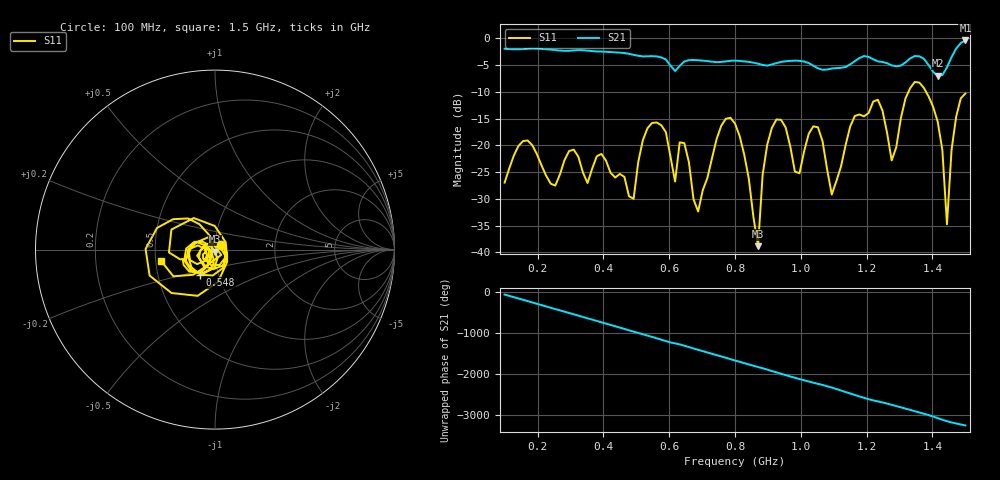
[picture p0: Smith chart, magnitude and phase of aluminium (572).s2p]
! NanoVNA-App
! Date: 2025-09-25 14:59:44
! Start: 100MHz Stop: 1,5GHz Points: 101
! S-Parameter data: F S11 S21 S12 S22
# Hz S RI R 50
!  Frequency  S11_Real  S11_Imag  S21_Real  S21_Imag  S12_Real  S12_Imag  S22_Real  S22_Imag
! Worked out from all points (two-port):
!   101 points, 100 MHz to 1.5 GHz, reference 50 ohm
!   highest |S21| = -0.37 dB at 1.5 GHz (marker M1); lowest = -7.0 dB at 1.416 GHz (marker M2)
!   |S21| within 3 dB of the highest: start of sweep to 563.5 MHz; 1.459 GHz to end of sweep (the widest 2 of 4)
!   lowest |S11| = -38.8 dB at 870 MHz (marker M3), VSWR 1.02, Z = 50.1 - j1.14 ohm
!   |S11| at or under -10 dB: start of sweep to 1.327 GHz; 1.381 GHz to end of sweep
!   S12 and S22 are empty: the file has one direction only
!   S11 on the Smith chart (normalised r, x): 100 MHz: 1.07, +0.06; 548 MHz: 0.82, -0.24; 1.5 GHz: 0.54, -0.08
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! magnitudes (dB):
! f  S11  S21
! 100 MHz  -27.0  -1.9
! 156 MHz  -19.2  -2.0
! 338 MHz  -25.1  -2.2
! 492 MHz  -30.0  -3.1
! 548 MHz  -15.8  -3.3
! 576 MHz  -16.2  -3.5
! 618 MHz  -26.8  -6.1
! 646 MHz  -19.6  -4.3
! 688 MHz  -32.4  -4.1
! 800 MHz  -15.9  -4.1
! 870 MHz  -38.8  -4.7
! 912 MHz  -16.7  -4.9
! 996 MHz  -25.2  -4.2
! 1.038 GHz  -16.4  -5.1
! 1.094 GHz  -29.2  -5.6
! 1.22 GHz  -11.8  -3.9
! 1.276 GHz  -22.8  -5.0
! 1.346 GHz  -8.1  -3.3
! 1.416 GHz  -15.6  -7.0
! 1.444 GHz  -34.8  -5.4
! 1.472 GHz  -14.6  -1.9
! 1.5 GHz  -10.3  -0.4
